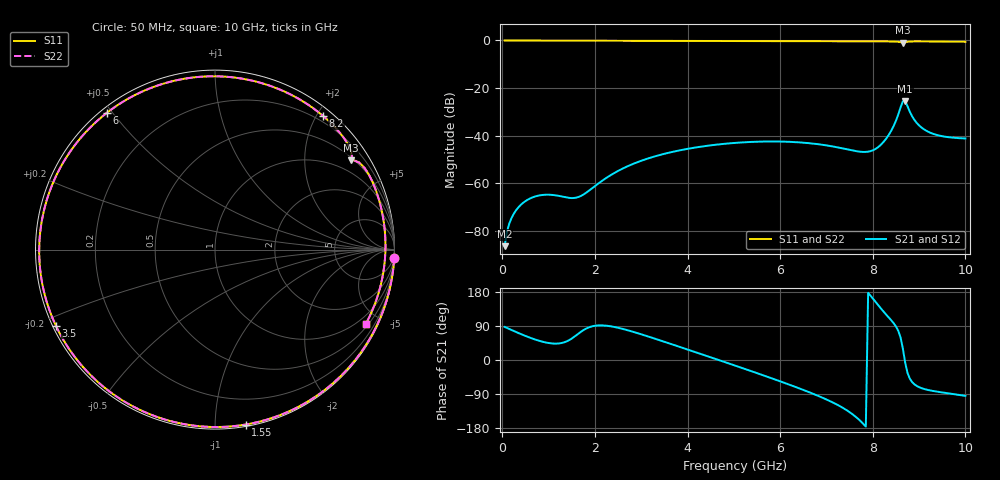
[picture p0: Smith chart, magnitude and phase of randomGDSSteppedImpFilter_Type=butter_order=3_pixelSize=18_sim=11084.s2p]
! freq	dB(S11)	phase(S11)	dB(S12)	phase(S12)
!  dB(S21)	phase(S21)	dB(S22)	phase(S22)
!S-par simulation data
#  GHz  S  DB  R 50
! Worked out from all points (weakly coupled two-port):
!   200 points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, 50 MHz to 10 GHz, reference 50 ohm
!   highest |S21| = -25.50 dB at 8.7 GHz (marker M1); lowest = -86.6 dB at 50 MHz (marker M2)
!   lowest |S11| = -0.9 dB at 8.65 GHz (marker M3), VSWR 19.99, Z = 29.6 + j162 ohm
!   |S11| at or under -10 dB: nowhere
!   |S22| runs from -0.9 to 0.0 dB; largest |S21 - S12| = 0
!   S11 on the Smith chart (normalised r, x): 50 MHz: 0, -41; 1.55 GHz: 0.01, -1.19; 3.5 GHz: 0.01, -0.23; 6 GHz: 0.02, +0.48; 8.2 GHz: 0.12, +2.09; 10 GHz: 0.63, -4.23
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0.05  -0.00 -2.8  -86.56 87.3  -86.56 87.3  -0.00 -2.8
0.1  -0.01 -5.6  -80.57 84.6  -80.57 84.6  -0.01 -5.6
0.3  -0.02 -16.6  -71.37 73.7  -71.37 73.7  -0.02 -16.6
0.6  -0.04 -32.8  -66.49 58.8  -66.49 58.8  -0.04 -32.8
1.1  -0.07 -58.6  -65.03 43.4  -65.03 43.4  -0.07 -58.6
1.55  -0.09 -80.0  -66.28 60.9  -66.28 60.9  -0.09 -80.0
1.75  -0.10 -89.0  -64.86 78.6  -64.86 78.6  -0.10 -89.0
2.55  -0.13 -121.4  -54.39 83.6  -54.39 83.6  -0.13 -121.4
3.4  -0.15 -151.2  -48.20 52.1  -48.20 52.1  -0.15 -151.2
3.5  -0.15 -154.5  -47.69 48.1  -47.69 48.1  -0.15 -154.5
4.25  -0.18 -178.2  -44.81 17.4  -44.81 17.4  -0.18 -178.2
5.05  -0.21 157.5  -43.07 -15.7  -43.07 -15.7  -0.21 157.5
6  -0.25 128.3  -42.53 -56.2  -42.53 -56.2  -0.25 128.3
6.7  -0.28 105.6  -43.38 -88.6  -43.38 -88.6  -0.28 105.6
7.8  -0.34 66.6  -46.91 -169.1  -46.91 -169.1  -0.34 66.5
8.2  -0.38 50.9  -43.39 132.3  -43.39 132.3  -0.38 50.8
8.35  -0.41 44.8  -39.58 111.6  -39.58 111.6  -0.41 44.7
8.65  -0.87 33.3  -25.58 30.1  -25.58 30.1  -0.87 33.2
8.7  -0.76 33.1  -25.50 -7.2  -25.50 -7.2  -0.76 33.0
8.9  -0.40 23.9  -33.47 -64.2  -33.47 -64.2  -0.40 23.7
9.15  -0.41 12.6  -37.93 -77.9  -37.93 -77.9  -0.41 12.4
10  -0.57 -26.1  -41.25 -94.7  -41.25 -94.7  -0.57 -26.3
